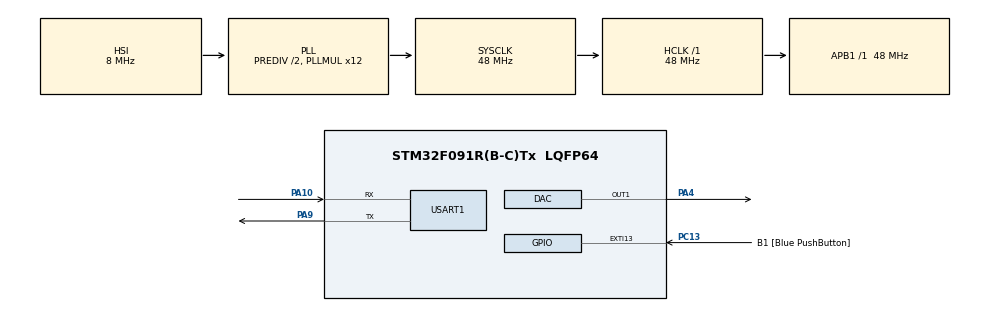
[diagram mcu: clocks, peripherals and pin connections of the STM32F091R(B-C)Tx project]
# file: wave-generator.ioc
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DAC.DAC_Trigger=DAC_TRIGGER_T2_TRGO
DAC.WaveGeneration=DISABLE
Dma.DAC_CH1.0.Direction=DMA_MEMORY_TO_PERIPH
Dma.DAC_CH1.0.Instance=DMA1_Channel3
Dma.DAC_CH1.0.MemDataAlignment=DMA_MDATAALIGN_HALFWORD
Dma.DAC_CH1.0.MemInc=DMA_MINC_ENABLE
Dma.DAC_CH1.0.Mode=DMA_CIRCULAR
Dma.DAC_CH1.0.PeriphDataAlignment=DMA_PDATAALIGN_HALFWORD
Dma.DAC_CH1.0.PeriphInc=DMA_PINC_DISABLE
Dma.DAC_CH1.0.Priority=DMA_PRIORITY_LOW
Dma.Request0=DAC_CH1
Mcu.Family=STM32F0
Mcu.Name=STM32F091R(B-C)Tx
Mcu.Package=LQFP64
NVIC.DMA1_Ch2_3_DMA2_Ch1_2_IRQn=true\:0\:0\:false\:false\:true\:false
NVIC.USART1_IRQn=true\:0\:0\:false\:false\:true\:true
PA10.Mode=Asynchronous
PA10.Signal=USART1_RX
PA13.GPIO_Label=TMS
PA13.Mode=Serial_Wire
PA13.Signal=SYS_SWDIO
PA14.GPIO_Label=TCK
PA14.Mode=Serial_Wire
PA14.Signal=SYS_SWCLK
PA2.GPIO_Label=USART_TX
PA2.GPIO_Mode=GPIO_MODE_AF_PP
PA2.GPIO_PuPd=GPIO_NOPULL
PA2.GPIO_Speed=GPIO_SPEED_FREQ_LOW
PA2.Signal=USART2_TX
PA3.GPIO_Label=USART_RX
PA3.GPIO_Mode=GPIO_MODE_AF_PP
PA3.GPIO_PuPd=GPIO_NOPULL
PA3.GPIO_Speed=GPIO_SPEED_FREQ_LOW
PA3.Signal=USART2_RX
PA4.Signal=COMP_DAC1_group
PA9.Mode=Asynchronous
PA9.Signal=USART1_TX
PC13.GPIO_Label=B1 [Blue PushButton]
PC13.GPIO_ModeDefaultEXTI=GPIO_MODE_IT_FALLING
PC13.Signal=GPXTI13
PC14OSC32_IN.Mode=LSE-External-Oscillator
PC14OSC32_IN.Signal=RCC_OSC32_IN
PC15OSC32_OUT.Mode=LSE-External-Oscillator
PC15OSC32_OUT.Signal=RCC_OSC32_OUT
PF0-OSC_IN.Mode=HSE-External-Clock-Source
PF0-OSC_IN.Signal=RCC_OSC_IN
PF1-OSC_OUT.Signal=RCC_OSC_OUT
ProjectManager.HeapSize=0x200
ProjectManager.StackSize=0x400
ProjectManager.TargetToolchain=MDK-ARM V5
RCC.AHBFreq_Value=48000000
RCC.APB1Freq_Value=48000000
RCC.APB1TimFreq_Value=48000000
RCC.FLatency-AdvancedSettings=FLASH_LATENCY_1
RCC.HCLKFreq_Value=48000000
RCC.PLLDivider=RCC_PREDIV_DIV2
RCC.PLLMUL=RCC_PLL_MUL12
RCC.PREFETCH_ENABLE-AdvancedSettings=1
RCC.SYSCLKFreq_VALUE=48000000
RCC.SYSCLKSource=RCC_SYSCLKSOURCE_PLLCLK
SH.COMP_DAC1_group.0=DAC_OUT1,DAC_OUT1
TIM2.AutoReloadPreload=TIM_AUTORELOAD_PRELOAD_DISABLE
TIM2.Period=15-1
TIM2.Prescaler=100
TIM2.TIM_MasterOutputTrigger=TIM_TRGO_UPDATE
TIM2.TIM_MasterSlaveMode=TIM_MASTERSLAVEMODE_DISABLE
USART1.VirtualMode-Asynchronous=VM_ASYNC
VP_TIM2_VS_ClockSourceINT.Mode=Internal
board=NUCLEO-F091RC

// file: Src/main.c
/* USER CODE BEGIN Header */
/**
  ******************************************************************************
  * @file           : main.c
  * @brief          : Main program body
  ******************************************************************************
  ** This notice applies to any and all portions of this file
  * that are not between comment pairs USER CODE BEGIN and
  * USER CODE END. Other portions of this file, whether
  * inserted by the user or by software development tools
  * are owned by their respective copyright owners.
  *
  * COPYRIGHT(c) 2019 STMicroelectronics
  *
  * Redistribution and use in source and binary forms, with or without modification,
  * are permitted provided that the following conditions are met:
  *   1. Redistributions of source code must retain the above copyright notice,
  *      this list of conditions and the following disclaimer.
  *   2. Redistributions in binary form must reproduce the above copyright notice,
  *      this list of conditions and the following disclaimer in the documentation
  *      and/or other materials provided with the distribution.
  *   3. Neither the name of STMicroelectronics nor the names of its contributors
  *      may be used to endorse or promote products derived from this software
  *      without specific prior written permission.
  *
  * THIS SOFTWARE IS PROVIDED BY THE COPYRIGHT HOLDERS AND CONTRIBUTORS "AS IS"
  * AND ANY EXPRESS OR IMPLIED WARRANTIES, INCLUDING, BUT NOT LIMITED TO, THE
  * IMPLIED WARRANTIES OF MERCHANTABILITY AND FITNESS FOR A PARTICULAR PURPOSE ARE
  * DISCLAIMED. IN NO EVENT SHALL THE COPYRIGHT HOLDER OR CONTRIBUTORS BE LIABLE
  * FOR ANY DIRECT, INDIRECT, INCIDENTAL, SPECIAL, EXEMPLARY, OR CONSEQUENTIAL
  * DAMAGES (INCLUDING, BUT NOT LIMITED TO, PROCUREMENT OF SUBSTITUTE GOODS OR
  * SERVICES; LOSS OF USE, DATA, OR PROFITS; OR BUSINESS INTERRUPTION) HOWEVER
  * CAUSED AND ON ANY THEORY OF LIABILITY, WHETHER IN CONTRACT, STRICT LIABILITY,
  * OR TORT (INCLUDING NEGLIGENCE OR OTHERWISE) ARISING IN ANY WAY OUT OF THE USE
  * OF THIS SOFTWARE, EVEN IF ADVISED OF THE POSSIBILITY OF SUCH DAMAGE.
  *
  ******************************************************************************
  */
/* USER CODE END Header */

#include "main.h"

/* USER CODE BEGIN Includes */
#include "protocol.h"
#include "ringbuff.h"
#include "tables.h"

#include <stdbool.h>
/* USER CODE END Includes */

/* USER CODE BEGIN PD */
#define RX_BUFF_SIZE (256)
/* USER CODE END PD */

DAC_HandleTypeDef hdac;
DMA_HandleTypeDef hdma_dac_ch1;

TIM_HandleTypeDef htim2;

UART_HandleTypeDef huart1;

/* USER CODE BEGIN PV */
ringbuff_t ring_buffer;
uint8_t uartRxData[RX_BUFF_SIZE];
uint8_t uartByte;

bool commandReceived = false;
bool bufferOverflow = false;
/* USER CODE END PV */

void SystemClock_Config(void);
static void MX_GPIO_Init(void);
static void MX_DMA_Init(void);
static void MX_DAC_Init(void);
static void MX_TIM2_Init(void);
static void MX_USART1_UART_Init(void);

/* USER CODE BEGIN 0 */
void HAL_UART_RxCpltCallback(UART_HandleTypeDef *huart)
{
	if (uartByte == '\r')
	{
		commandReceived = true;
	}
	else if (ringbuff_write(&ring_buffer, (void*)&uartByte, sizeof(uartByte) / sizeof(uint8_t)) != 1)
	{
		bufferOverflow = true;
	}

	HAL_UART_Receive_IT(&huart1, &uartByte, 1);
}
/* USER CODE END 0 */

int main(void)
{

  /* MCU Configuration--------------------------------------------------------*/

  /* Reset of all peripherals, Initializes the Flash interface and the Systick. */
  HAL_Init();

  /* Configure the system clock */
  SystemClock_Config();

  /* Initialize all configured peripherals */
  MX_GPIO_Init();
  MX_DMA_Init();
  MX_DAC_Init();
  MX_TIM2_Init();
  MX_USART1_UART_Init();
  /* USER CODE BEGIN 2 */
	char data[MAXIMUM_MESSAGE_LENGTH];
	char *dataPtr = data;
	EMessageID eMessageID;

	ringbuff_init(&ring_buffer, uartRxData, sizeof(uartRxData) / sizeof(uint8_t));
	HAL_UART_Receive_IT(&huart1, &uartByte, sizeof(uartByte) / sizeof(uint8_t));

	HAL_TIM_Base_Start(&htim2);
  /* USER CODE END 2 */

  /* Infinite loop */
  while (1)
  {

    /* USER CODE BEGIN 3 */
		if (commandReceived == true)
		{
			while (ringbuff_read(&ring_buffer, (void*)dataPtr++, 1) > 0) {}
			dataPtr = data;

			eMessageID = protocol__checkIfValid(data);

			protocol__decodeMessage(eMessageID, data);

			commandReceived = false;
		}
		if (bufferOverflow == true)
		{
			// TODO: handle buffer overflow error
			bufferOverflow = false;
		}
		HAL_Delay(1);
  }
  /* USER CODE END 3 */
}

void SystemClock_Config(void)
{
  RCC_OscInitTypeDef RCC_OscInitStruct = {0};
  RCC_ClkInitTypeDef RCC_ClkInitStruct = {0};
  RCC_PeriphCLKInitTypeDef PeriphClkInit = {0};

  /**Initializes the CPU, AHB and APB busses clocks
  */
  RCC_OscInitStruct.OscillatorType = RCC_OSCILLATORTYPE_HSI;
  RCC_OscInitStruct.HSIState = RCC_HSI_ON;
  RCC_OscInitStruct.HSICalibrationValue = RCC_HSICALIBRATION_DEFAULT;
  RCC_OscInitStruct.PLL.PLLState = RCC_PLL_ON;
  RCC_OscInitStruct.PLL.PLLSource = RCC_PLLSOURCE_HSI;
  RCC_OscInitStruct.PLL.PLLMUL = RCC_PLL_MUL12;
  RCC_OscInitStruct.PLL.PREDIV = RCC_PREDIV_DIV2;
  if (HAL_RCC_OscConfig(&RCC_OscInitStruct) != HAL_OK)
  {
    Error_Handler();
  }
  /**Initializes the CPU, AHB and APB busses clocks
  */
  RCC_ClkInitStruct.ClockType = RCC_CLOCKTYPE_HCLK|RCC_CLOCKTYPE_SYSCLK
                              |RCC_CLOCKTYPE_PCLK1;
  RCC_ClkInitStruct.SYSCLKSource = RCC_SYSCLKSOURCE_PLLCLK;
  RCC_ClkInitStruct.AHBCLKDivider = RCC_SYSCLK_DIV1;
  RCC_ClkInitStruct.APB1CLKDivider = RCC_HCLK_DIV1;

  if (HAL_RCC_ClockConfig(&RCC_ClkInitStruct, FLASH_LATENCY_1) != HAL_OK)
  {
    Error_Handler();
  }
  PeriphClkInit.PeriphClockSelection = RCC_PERIPHCLK_USART1;
  PeriphClkInit.Usart1ClockSelection = RCC_USART1CLKSOURCE_PCLK1;
  if (HAL_RCCEx_PeriphCLKConfig(&PeriphClkInit) != HAL_OK)
  {
    Error_Handler();
  }
}

static void MX_DAC_Init(void)
{

  DAC_ChannelConfTypeDef sConfig = {0};

  /* USER CODE BEGIN DAC_Init 1 */
	//hdac.DMA_Handle1->Init
  /* USER CODE END DAC_Init 1 */
  /**DAC Initialization
  */
  hdac.Instance = DAC;
  if (HAL_DAC_Init(&hdac) != HAL_OK)
  {
    Error_Handler();
  }
  /**DAC channel OUT1 config
  */
  sConfig.DAC_Trigger = DAC_TRIGGER_T2_TRGO;
  sConfig.DAC_OutputBuffer = DAC_OUTPUTBUFFER_ENABLE;
  if (HAL_DAC_ConfigChannel(&hdac, &sConfig, DAC_CHANNEL_1) != HAL_OK)
  {
    Error_Handler();
  }

}

static void MX_TIM2_Init(void)
{

  TIM_ClockConfigTypeDef sClockSourceConfig = {0};
  TIM_MasterConfigTypeDef sMasterConfig = {0};

  htim2.Instance = TIM2;
  htim2.Init.Prescaler = 100;
  htim2.Init.CounterMode = TIM_COUNTERMODE_UP;
  htim2.Init.Period = 15-1;
  htim2.Init.ClockDivision = TIM_CLOCKDIVISION_DIV1;
  htim2.Init.AutoReloadPreload = TIM_AUTORELOAD_PRELOAD_DISABLE;
  if (HAL_TIM_Base_Init(&htim2) != HAL_OK)
  {
    Error_Handler();
  }
  sClockSourceConfig.ClockSource = TIM_CLOCKSOURCE_INTERNAL;
  if (HAL_TIM_ConfigClockSource(&htim2, &sClockSourceConfig) != HAL_OK)
  {
    Error_Handler();
  }
  sMasterConfig.MasterOutputTrigger = TIM_TRGO_UPDATE;
  sMasterConfig.MasterSlaveMode = TIM_MASTERSLAVEMODE_DISABLE;
  if (HAL_TIMEx_MasterConfigSynchronization(&htim2, &sMasterConfig) != HAL_OK)
  {
    Error_Handler();
  }

}

static void MX_USART1_UART_Init(void)
{

  huart1.Instance = USART1;
  huart1.Init.BaudRate = 115200;
  huart1.Init.WordLength = UART_WORDLENGTH_8B;
  huart1.Init.StopBits = UART_STOPBITS_1;
  huart1.Init.Parity = UART_PARITY_NONE;
  huart1.Init.Mode = UART_MODE_TX_RX;
  huart1.Init.HwFlowCtl = UART_HWCONTROL_NONE;
  huart1.Init.OverSampling = UART_OVERSAMPLING_16;
  huart1.Init.OneBitSampling = UART_ONE_BIT_SAMPLE_DISABLE;
  huart1.AdvancedInit.AdvFeatureInit = UART_ADVFEATURE_NO_INIT;
  if (HAL_UART_Init(&huart1) != HAL_OK)
  {
    Error_Handler();
  }

}

static void MX_DMA_Init(void)
{
  /* DMA controller clock enable */
  __HAL_RCC_DMA1_CLK_ENABLE();

  /* DMA interrupt init */
  /* DMA1_Ch2_3_DMA2_Ch1_2_IRQn interrupt configuration */
  HAL_NVIC_SetPriority(DMA1_Ch2_3_DMA2_Ch1_2_IRQn, 0, 0);
  HAL_NVIC_EnableIRQ(DMA1_Ch2_3_DMA2_Ch1_2_IRQn);

}

static void MX_GPIO_Init(void)
{
  GPIO_InitTypeDef GPIO_InitStruct = {0};

  /* GPIO Ports Clock Enable */
  __HAL_RCC_GPIOC_CLK_ENABLE();
  __HAL_RCC_GPIOF_CLK_ENABLE();
  __HAL_RCC_GPIOA_CLK_ENABLE();

  /*Configure GPIO pin : B1_Pin */
  GPIO_InitStruct.Pin = B1_Pin;
  GPIO_InitStruct.Mode = GPIO_MODE_IT_FALLING;
  GPIO_InitStruct.Pull = GPIO_NOPULL;
  HAL_GPIO_Init(B1_GPIO_Port, &GPIO_InitStruct);

  /*Configure GPIO pins : USART_TX_Pin USART_RX_Pin */
  GPIO_InitStruct.Pin = USART_TX_Pin|USART_RX_Pin;
  GPIO_InitStruct.Mode = GPIO_MODE_AF_PP;
  GPIO_InitStruct.Pull = GPIO_NOPULL;
  GPIO_InitStruct.Speed = GPIO_SPEED_FREQ_LOW;
  GPIO_InitStruct.Alternate = GPIO_AF1_USART2;
  HAL_GPIO_Init(GPIOA, &GPIO_InitStruct);

}

void Error_Handler(void)
{
}

/************************ (C) COPYRIGHT STMicroelectronics *****END OF FILE****/
